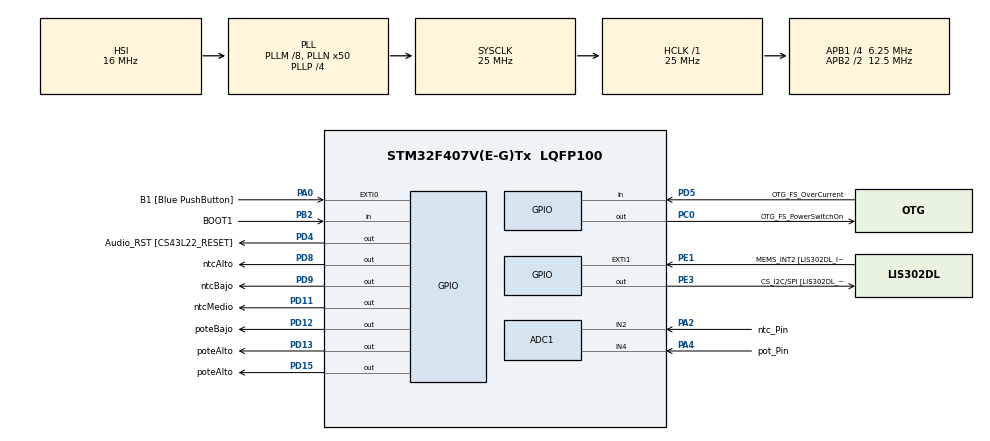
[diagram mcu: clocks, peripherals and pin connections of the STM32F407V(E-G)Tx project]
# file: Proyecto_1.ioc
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ADC1.Channel-0\#ChannelRegularConversion=ADC_CHANNEL_2
ADC1.Channel-1\#ChannelRegularConversion=ADC_CHANNEL_4
ADC1.ClockPrescaler=ADC_CLOCK_SYNC_PCLK_DIV8
ADC1.ContinuousConvMode=ENABLE
ADC1.DMAContinuousRequests=ENABLE
ADC1.EOCSelection=ADC_EOC_SEQ_CONV
ADC1.NbrOfConversion=2
ADC1.NbrOfConversionFlag=1
ADC1.Rank-0\#ChannelRegularConversion=1
ADC1.Rank-1\#ChannelRegularConversion=2
ADC1.SamplingTime-0\#ChannelRegularConversion=ADC_SAMPLETIME_112CYCLES
ADC1.SamplingTime-1\#ChannelRegularConversion=ADC_SAMPLETIME_112CYCLES
ADC1.ScanConvMode=ENABLE
ADC1.master=1
Dma.ADC1.0.Direction=DMA_PERIPH_TO_MEMORY
Dma.ADC1.0.FIFOMode=DMA_FIFOMODE_DISABLE
Dma.ADC1.0.Instance=DMA2_Stream0
Dma.ADC1.0.MemDataAlignment=DMA_MDATAALIGN_HALFWORD
Dma.ADC1.0.MemInc=DMA_MINC_ENABLE
Dma.ADC1.0.Mode=DMA_CIRCULAR
Dma.ADC1.0.PeriphDataAlignment=DMA_PDATAALIGN_HALFWORD
Dma.ADC1.0.PeriphInc=DMA_PINC_DISABLE
Dma.ADC1.0.Priority=DMA_PRIORITY_LOW
Dma.Request0=ADC1
Mcu.Family=STM32F4
Mcu.Name=STM32F407V(E-G)Tx
Mcu.Package=LQFP100
NVIC.DMA2_Stream0_IRQn=true\:0\:0\:false\:false\:true\:false\:true\:true
NVIC.PriorityGroup=NVIC_PRIORITYGROUP_0
PA0-WKUP.GPIO_Label=B1 [Blue PushButton]
PA0-WKUP.Signal=GPXTI0
PA10.GPIO_Label=OTG_FS_ID
PA10.GPIO_Mode=GPIO_MODE_AF_PP
PA10.GPIO_PuPd=GPIO_NOPULL
PA10.GPIO_Speed=GPIO_SPEED_FREQ_LOW
PA10.Signal=USB_OTG_FS_ID
PA11.GPIO_Label=OTG_FS_DM
PA11.GPIO_Mode=GPIO_MODE_AF_PP
PA11.GPIO_PuPd=GPIO_NOPULL
PA11.GPIO_Speed=GPIO_SPEED_FREQ_LOW
PA11.Signal=USB_OTG_FS_DM
PA12.GPIO_Label=OTG_FS_DP
PA12.GPIO_Mode=GPIO_MODE_AF_PP
PA12.GPIO_PuPd=GPIO_NOPULL
PA12.GPIO_Speed=GPIO_SPEED_FREQ_LOW
PA12.Signal=USB_OTG_FS_DP
PA13.GPIO_Label=SWDIO
PA13.Signal=SYS_JTMS-SWDIO
PA14.GPIO_Label=SWCLK
PA14.Signal=SYS_JTCK-SWCLK
PA2.GPIO_Label=ntc_Pin
PA2.Signal=ADCx_IN2
PA4.GPIO_Label=pot_Pin
PA4.Signal=ADCx_IN4
PA5.GPIO_Label=SPI1_SCK [LIS302DL_SCL/SPC]
PA5.GPIO_Mode=GPIO_MODE_AF_PP
PA5.GPIO_PuPd=GPIO_NOPULL
PA5.GPIO_Speed=GPIO_SPEED_FREQ_LOW
PA5.Signal=SPI1_SCK
PA6.GPIO_Label=SPI1_MISO [LIS302DL_SDO]
PA6.GPIO_Mode=GPIO_MODE_AF_PP
PA6.GPIO_PuPd=GPIO_NOPULL
PA6.GPIO_Speed=GPIO_SPEED_FREQ_LOW
PA6.Signal=SPI1_MISO
PA7.GPIO_Label=SPI1_MOSI [LIS302DL_SDA/SDI/SDO]
PA7.GPIO_Mode=GPIO_MODE_AF_PP
PA7.GPIO_PuPd=GPIO_NOPULL
PA7.GPIO_Speed=GPIO_SPEED_FREQ_LOW
PA7.Signal=SPI1_MOSI
PA9.GPIO_Label=VBUS_FS
PA9.GPIO_Mode=GPIO_MODE_INPUT
PA9.GPIO_PuPd=GPIO_NOPULL
PA9.Signal=USB_OTG_FS_VBUS
PB10.GPIO_Label=CLK_IN [MP45DT02_CLK]
PB10.GPIO_Mode=GPIO_MODE_AF_PP
PB10.GPIO_PuPd=GPIO_NOPULL
PB10.GPIO_Speed=GPIO_SPEED_FREQ_LOW
PB10.Signal=I2S2_CK
PB2.GPIO_Label=BOOT1
PB2.GPIO_Mode=GPIO_MODE_INPUT
PB2.GPIO_PuPd=GPIO_NOPULL
PB2.Signal=GPIO_Input
PB3.GPIO_Label=SWO
PB3.Signal=SYS_JTDO-SWO
PB6.GPIO_Label=Audio_SCL [CS43L22_SCL]
PB6.GPIO_Mode=GPIO_MODE_AF_OD
PB6.GPIO_PuPd=GPIO_NOPULL
PB6.GPIO_Speed=GPIO_SPEED_FREQ_LOW
PB6.Signal=I2C1_SCL
PB9.GPIO_Label=Audio_SDA [CS43L22_SDA]
PB9.GPIO_Mode=GPIO_MODE_AF_OD
PB9.GPIO_PuPd=GPIO_NOPULL
PB9.GPIO_Speed=GPIO_SPEED_FREQ_LOW
PB9.Signal=I2C1_SDA
PC0.GPIO_Label=OTG_FS_PowerSwitchOn
PC0.GPIO_PuPd=GPIO_NOPULL
PC0.GPIO_Speed=GPIO_SPEED_FREQ_LOW
PC0.PinState=GPIO_PIN_SET
PC0.Signal=GPIO_Output
PC10.GPIO_Label=I2S3_SCK [CS43L22_SCLK]
PC10.GPIO_Mode=GPIO_MODE_AF_PP
PC10.GPIO_PuPd=GPIO_NOPULL
PC10.GPIO_Speed=GPIO_SPEED_FREQ_LOW
PC10.Signal=I2S3_CK
PC12.GPIO_Label=I2S3_SD [CS43L22_SDIN]
PC12.GPIO_Mode=GPIO_MODE_AF_PP
PC12.GPIO_PuPd=GPIO_NOPULL
PC12.GPIO_Speed=GPIO_SPEED_FREQ_LOW
PC12.Signal=I2S3_SD
PC14-OSC32_IN.GPIO_Label=PC14-OSC32_IN
PC14-OSC32_IN.Signal=RCC_OSC32_IN
PC15-OSC32_OUT.GPIO_Label=PC15-OSC32_OUT
PC15-OSC32_OUT.Signal=RCC_OSC32_OUT
PC3.GPIO_Label=PDM_OUT [MP45DT02_DOUT]
PC3.GPIO_Mode=GPIO_MODE_AF_PP
PC3.GPIO_PuPd=GPIO_NOPULL
PC3.GPIO_Speed=GPIO_SPEED_FREQ_LOW
PC3.Signal=I2S2_SD
PC7.GPIO_Label=I2S3_MCK [CS43L22_MCLK]
PC7.GPIO_Mode=GPIO_MODE_AF_PP
PC7.GPIO_PuPd=GPIO_NOPULL
PC7.GPIO_Speed=GPIO_SPEED_FREQ_LOW
PC7.Signal=I2S3_MCK
PD11.GPIO_Label=ntcMedio
PD11.Signal=GPIO_Output
PD12.GPIO_Label=poteBajo
PD12.GPIO_PuPd=GPIO_NOPULL
PD12.GPIO_Speed=GPIO_SPEED_FREQ_LOW
PD12.Signal=GPIO_Output
PD13.GPIO_Label=poteAlto
PD13.GPIO_PuPd=GPIO_NOPULL
PD13.GPIO_Speed=GPIO_SPEED_FREQ_LOW
PD13.Signal=GPIO_Output
PD15.GPIO_Label=poteAlto
PD15.GPIO_PuPd=GPIO_NOPULL
PD15.GPIO_Speed=GPIO_SPEED_FREQ_LOW
PD15.Signal=GPIO_Output
PD4.GPIO_Label=Audio_RST [CS43L22_RESET]
PD4.GPIO_PuPd=GPIO_NOPULL
PD4.GPIO_Speed=GPIO_SPEED_FREQ_LOW
PD4.Signal=GPIO_Output
PD5.GPIO_Label=OTG_FS_OverCurrent
PD5.GPIO_Mode=GPIO_MODE_INPUT
PD5.GPIO_PuPd=GPIO_NOPULL
PD5.Signal=GPIO_Input
PD8.GPIO_Label=ntcAlto
PD8.Signal=GPIO_Output
PD9.GPIO_Label=ntcBajo
PD9.Signal=GPIO_Output
PE1.GPIO_Label=MEMS_INT2 [LIS302DL_INT2]
PE1.GPIO_ModeDefaultEXTI=GPIO_MODE_EVT_RISING
PE1.GPIO_PuPd=GPIO_NOPULL
PE1.Signal=GPXTI1
PE3.GPIO_Label=CS_I2C/SPI [LIS302DL_CS_I2C/SPI]
PE3.GPIO_PuPd=GPIO_NOPULL
PE3.GPIO_Speed=GPIO_SPEED_FREQ_LOW
PE3.Signal=GPIO_Output
PH0-OSC_IN.GPIO_Label=PH0-OSC_IN
PH0-OSC_IN.Signal=RCC_OSC_IN
PH1-OSC_OUT.GPIO_Label=PH1-OSC_OUT
PH1-OSC_OUT.Signal=RCC_OSC_OUT
ProjectManager.HeapSize=0x200
ProjectManager.StackSize=0x400
ProjectManager.TargetToolchain=STM32CubeIDE
RCC.48MHZClocksFreq_Value=14285714.285714285
RCC.AHBFreq_Value=25000000
RCC.APB1CLKDivider=RCC_HCLK_DIV4
RCC.APB1Freq_Value=6250000
RCC.APB1TimFreq_Value=12500000
RCC.APB2CLKDivider=RCC_HCLK_DIV2
RCC.APB2Freq_Value=12500000
RCC.APB2TimFreq_Value=25000000
RCC.CortexFreq_Value=25000000
RCC.HCLKFreq_Value=25000000
RCC.HSE_VALUE=8000000
RCC.HSI_VALUE=16000000
RCC.LSE_VALUE=32768
RCC.PLLM=8
RCC.PLLN=50
RCC.PLLP=RCC_PLLP_DIV4
RCC.PLLQ=7
RCC.SYSCLKFreq_VALUE=25000000
RCC.SYSCLKSource=RCC_SYSCLKSOURCE_PLLCLK
RCC.VCOOutputFreq_Value=100000000
SH.ADCx_IN2.0=ADC1_IN2,IN2
SH.ADCx_IN4.0=ADC1_IN4,IN4
board=STM32F407G-DISC1

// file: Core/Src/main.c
/* USER CODE BEGIN Header */
/**
  ******************************************************************************
  * @file           : main.c
  * @brief          : Main program body
  ******************************************************************************
  * @attention
  *
  * Copyright (c) 2026 STMicroelectronics.
  * All rights reserved.
  *
  * This software is licensed under terms that can be found in the LICENSE file
  * in the root directory of this software component.
  * If no LICENSE file comes with this software, it is provided AS-IS.
  *
  ******************************************************************************
  */
/* USER CODE END Header */
#include "main.h"

/*#define ntc_Pin GPIO_PIN_2
#define ntc_GPIO_Port GPIOA
#define pot_Pin GPIO_PIN_4
#define pot_GPIO_Port GPIOA
#define ntcAlto_Pin GPIO_PIN_8
#define ntcBajo_Pin GPIO_PIN_9
#define ntcMedio_Pin GPIO_PIN_11
#define ntc_GPIO_Port GPIOD
#define potBajo_Pin GPIO_PIN_12
#define potAlto_Pin GPIO_PIN_13
#define potMedio_Pin GPIO_PIN_15
#define pot_GPIO_Port GPIOD
#define MascaraLeds ntcAlto_Pin|ntcBajo_Pin|ntcMedio_Pin|potBajo_Pin|potAlto_Pin|potMedio_Pin
#define MascaraApagarLeds (ntcAlto_Pin|ntcBajo_Pin|ntcMedio_Pin|potBajo_Pin|potAlto_Pin|potMedio_Pin) << 16*/
/* ENTRADAS (Sensores en Puerto A) */
#define ntc_Pin GPIO_PIN_2
#define pot_Pin GPIO_PIN_4
#define sensores_IN_Port GPIOA

/* SALIDAS (LEDs en Puerto D) */
#define ntcAlto_Pin GPIO_PIN_8
#define ntcBajo_Pin GPIO_PIN_9
#define ntcMedio_Pin GPIO_PIN_11
#define potBajo_Pin GPIO_PIN_12
#define potAlto_Pin GPIO_PIN_13
#define potMedio_Pin GPIO_PIN_15
#define leds_OUT_Port GPIOD

/* MÁSCARAS (Con nombres en mayúscula) */
#define MASCARA_ENCENDER_LEDS (ntcAlto_Pin|ntcBajo_Pin|ntcMedio_Pin|potBajo_Pin|potAlto_Pin|potMedio_Pin)
#define MASCARA_APAGAR_LEDS ((ntcAlto_Pin|ntcBajo_Pin|ntcMedio_Pin|potBajo_Pin|potAlto_Pin|potMedio_Pin) << 16)
/* USER CODE BEGIN PD */
// Tiempo en ms que permanecen encendidas las luces al iniciar el sistema
#define TENCENDIDO 2000
// Tiempo en ms que permanecen apagadas las luces antes iniciar las transiciones
#define TAPAGADO 2000
// Nivel umbral entre los rango bajo y medio de las lecturas del termistor NTC
#define NTC_INFERIOR 3600
// Nivel umbral entre los rango medio y alto de las lecturas del termistor NTC
#define NTC_SUPERIOR 3500
// Nivel umbral entre los rango bajo y medio de las lecturas del potenciómetro
#define POT_INFERIOR 1366
// Nivel umbral entre los rango medio y alto de las lecturas del potenciómetro
#define POT_SUPERIOR 2730
// Cantidad de canales que se muestrean
#define CANALES 2
// Cantidad de muestras a promediar por canal
#define MUESTRAS 16
// Tamaño mínimo requerido de buffer
#define BUFFER_MINIMO (MUESTRAS * CANALES)
// Cantidad de buffers mínimos que se emplean
#define CANTIDAD_BUFFER_MINIMO 2
// Tamaño del buffer a implementar
#define BUFFER_TOTAL (CANTIDAD_BUFFER_MINIMO * BUFFER_MINIMO)

/* USER CODE END PD */

ADC_HandleTypeDef hadc1;
DMA_HandleTypeDef hdma_adc1;

/* USER CODE BEGIN PV */
// Buffer para almacenar las muestras
uint16_t dma_buffer[BUFFER_TOTAL];
// Valor promedio de las muestras del termistor NTC
volatile uint16_t ntc_avg;
// Valor promedio de las muestras del potenciómetro
volatile uint16_t pot_avg;

/* USER CODE END PV */

void SystemClock_Config(void);
static void MX_GPIO_Init(void);
static void MX_DMA_Init(void);
static void MX_ADC1_Init(void);
/* USER CODE BEGIN PFP */
void inicio(void); // Prueba e inicialización del sistema
void apagarTodos(void); // Apaga todos los LED
void encenderTodos(void); // Enciende todos los LED
void promediar(uint16_t *buffer); // Calcula el promedio de las muestras
void mostrarNtc(void); // Maneja los LED indicadores para el termistor NTC
void mostrarPot(void); // Maneja los LED indicadores para el potenciómetro
void mostrar(void); // Maneja los LED indicadores de rangos

/* USER CODE END PFP */

int main(void)
{

  /* MCU Configuration--------------------------------------------------------*/

  /* Reset of all peripherals, Initializes the Flash interface and the Systick. */
  HAL_Init();

  /* Configure the system clock */
  SystemClock_Config();

  /* Initialize all configured peripherals */
  MX_GPIO_Init();
  MX_DMA_Init();
  MX_ADC1_Init();
  /* USER CODE BEGIN 2 */
  inicio(); // Probamos los LED e Inicializamos
  /* USER CODE END 2 */

  /* Infinite loop */
  while (1)
  {
	  // Gestionamos los LED acorde a los valores promedio obtenidos
	  mostrar();
  }
}

void SystemClock_Config(void)
{
  RCC_OscInitTypeDef RCC_OscInitStruct = {0};
  RCC_ClkInitTypeDef RCC_ClkInitStruct = {0};

  /** Configure the main internal regulator output voltage
  */
  __HAL_RCC_PWR_CLK_ENABLE();
  __HAL_PWR_VOLTAGESCALING_CONFIG(PWR_REGULATOR_VOLTAGE_SCALE1);

  /** Initializes the RCC Oscillators according to the specified parameters
  * in the RCC_OscInitTypeDef structure.
  */
  RCC_OscInitStruct.OscillatorType = RCC_OSCILLATORTYPE_HSI;
  RCC_OscInitStruct.HSIState = RCC_HSI_ON;
  RCC_OscInitStruct.HSICalibrationValue = RCC_HSICALIBRATION_DEFAULT;
  RCC_OscInitStruct.PLL.PLLState = RCC_PLL_ON;
  RCC_OscInitStruct.PLL.PLLSource = RCC_PLLSOURCE_HSI;
  RCC_OscInitStruct.PLL.PLLM = 8;
  RCC_OscInitStruct.PLL.PLLN = 50;
  RCC_OscInitStruct.PLL.PLLP = RCC_PLLP_DIV4;
  RCC_OscInitStruct.PLL.PLLQ = 7;
  if (HAL_RCC_OscConfig(&RCC_OscInitStruct) != HAL_OK)
  {
    Error_Handler();
  }

  /** Initializes the CPU, AHB and APB buses clocks
  */
  RCC_ClkInitStruct.ClockType = RCC_CLOCKTYPE_HCLK|RCC_CLOCKTYPE_SYSCLK
                              |RCC_CLOCKTYPE_PCLK1|RCC_CLOCKTYPE_PCLK2;
  RCC_ClkInitStruct.SYSCLKSource = RCC_SYSCLKSOURCE_PLLCLK;
  RCC_ClkInitStruct.AHBCLKDivider = RCC_SYSCLK_DIV1;
  RCC_ClkInitStruct.APB1CLKDivider = RCC_HCLK_DIV4;
  RCC_ClkInitStruct.APB2CLKDivider = RCC_HCLK_DIV2;

  if (HAL_RCC_ClockConfig(&RCC_ClkInitStruct, FLASH_LATENCY_0) != HAL_OK)
  {
    Error_Handler();
  }
}

static void MX_ADC1_Init(void)
{

  ADC_ChannelConfTypeDef sConfig = {0};

  /** Configure the global features of the ADC (Clock, Resolution, Data Alignment and number of conversion)
  */
  hadc1.Instance = ADC1;
  hadc1.Init.ClockPrescaler = ADC_CLOCK_SYNC_PCLK_DIV8;
  hadc1.Init.Resolution = ADC_RESOLUTION_12B;
  hadc1.Init.ScanConvMode = ENABLE;
  hadc1.Init.ContinuousConvMode = ENABLE;
  hadc1.Init.DiscontinuousConvMode = DISABLE;
  hadc1.Init.ExternalTrigConvEdge = ADC_EXTERNALTRIGCONVEDGE_NONE;
  hadc1.Init.ExternalTrigConv = ADC_SOFTWARE_START;
  hadc1.Init.DataAlign = ADC_DATAALIGN_RIGHT;
  hadc1.Init.NbrOfConversion = 2;
  hadc1.Init.DMAContinuousRequests = ENABLE;
  hadc1.Init.EOCSelection = ADC_EOC_SEQ_CONV;
  if (HAL_ADC_Init(&hadc1) != HAL_OK)
  {
    Error_Handler();
  }

  /** Configure for the selected ADC regular channel its corresponding rank in the sequencer and its sample time.
  */
  sConfig.Channel = ADC_CHANNEL_2;
  sConfig.Rank = 1;
  sConfig.SamplingTime = ADC_SAMPLETIME_112CYCLES;
  if (HAL_ADC_ConfigChannel(&hadc1, &sConfig) != HAL_OK)
  {
    Error_Handler();
  }

  /** Configure for the selected ADC regular channel its corresponding rank in the sequencer and its sample time.
  */
  sConfig.Channel = ADC_CHANNEL_4;
  sConfig.Rank = 2;
  if (HAL_ADC_ConfigChannel(&hadc1, &sConfig) != HAL_OK)
  {
    Error_Handler();
  }

}

static void MX_DMA_Init(void)
{

  /* DMA controller clock enable */
  __HAL_RCC_DMA2_CLK_ENABLE();

  /* DMA interrupt init */
  /* DMA2_Stream0_IRQn interrupt configuration */
  HAL_NVIC_SetPriority(DMA2_Stream0_IRQn, 0, 0);
  HAL_NVIC_EnableIRQ(DMA2_Stream0_IRQn);

}

static void MX_GPIO_Init(void)
{
  GPIO_InitTypeDef GPIO_InitStruct = {0};

  /* GPIO Ports Clock Enable */
  __HAL_RCC_GPIOE_CLK_ENABLE();
  __HAL_RCC_GPIOC_CLK_ENABLE();
  __HAL_RCC_GPIOH_CLK_ENABLE();
  __HAL_RCC_GPIOA_CLK_ENABLE();
  __HAL_RCC_GPIOB_CLK_ENABLE();
  __HAL_RCC_GPIOD_CLK_ENABLE();

  /*Configure GPIO pin Output Level */
  HAL_GPIO_WritePin(CS_I2C_SPI_GPIO_Port, CS_I2C_SPI_Pin, GPIO_PIN_RESET);

  /*Configure GPIO pin Output Level */
  HAL_GPIO_WritePin(OTG_FS_PowerSwitchOn_GPIO_Port, OTG_FS_PowerSwitchOn_Pin, GPIO_PIN_SET);

  /*Configure GPIO pin Output Level */
  HAL_GPIO_WritePin(GPIOD, ntcAlto_Pin|ntcBajo_Pin|ntcMedio_Pin|poteBajo_Pin
                          |poteAlto_Pin|poteAltoD15_Pin|Audio_RST_Pin, GPIO_PIN_RESET);

  /*Configure GPIO pin : CS_I2C_SPI_Pin */
  GPIO_InitStruct.Pin = CS_I2C_SPI_Pin;
  GPIO_InitStruct.Mode = GPIO_MODE_OUTPUT_PP;
  GPIO_InitStruct.Pull = GPIO_NOPULL;
  GPIO_InitStruct.Speed = GPIO_SPEED_FREQ_LOW;
  HAL_GPIO_Init(CS_I2C_SPI_GPIO_Port, &GPIO_InitStruct);

  /*Configure GPIO pin : OTG_FS_PowerSwitchOn_Pin */
  GPIO_InitStruct.Pin = OTG_FS_PowerSwitchOn_Pin;
  GPIO_InitStruct.Mode = GPIO_MODE_OUTPUT_PP;
  GPIO_InitStruct.Pull = GPIO_NOPULL;
  GPIO_InitStruct.Speed = GPIO_SPEED_FREQ_LOW;
  HAL_GPIO_Init(OTG_FS_PowerSwitchOn_GPIO_Port, &GPIO_InitStruct);

  /*Configure GPIO pin : PDM_OUT_Pin */
  GPIO_InitStruct.Pin = PDM_OUT_Pin;
  GPIO_InitStruct.Mode = GPIO_MODE_AF_PP;
  GPIO_InitStruct.Pull = GPIO_NOPULL;
  GPIO_InitStruct.Speed = GPIO_SPEED_FREQ_LOW;
  GPIO_InitStruct.Alternate = GPIO_AF5_SPI2;
  HAL_GPIO_Init(PDM_OUT_GPIO_Port, &GPIO_InitStruct);

  /*Configure GPIO pin : B1_Pin */
  GPIO_InitStruct.Pin = B1_Pin;
  GPIO_InitStruct.Mode = GPIO_MODE_IT_RISING;
  GPIO_InitStruct.Pull = GPIO_NOPULL;
  HAL_GPIO_Init(B1_GPIO_Port, &GPIO_InitStruct);

  /*Configure GPIO pins : SPI1_SCK_Pin SPI1_MISO_Pin SPI1_MOSI_Pin */
  GPIO_InitStruct.Pin = SPI1_SCK_Pin|SPI1_MISO_Pin|SPI1_MOSI_Pin;
  GPIO_InitStruct.Mode = GPIO_MODE_AF_PP;
  GPIO_InitStruct.Pull = GPIO_NOPULL;
  GPIO_InitStruct.Speed = GPIO_SPEED_FREQ_LOW;
  GPIO_InitStruct.Alternate = GPIO_AF5_SPI1;
  HAL_GPIO_Init(GPIOA, &GPIO_InitStruct);

  /*Configure GPIO pin : BOOT1_Pin */
  GPIO_InitStruct.Pin = BOOT1_Pin;
  GPIO_InitStruct.Mode = GPIO_MODE_INPUT;
  GPIO_InitStruct.Pull = GPIO_NOPULL;
  HAL_GPIO_Init(BOOT1_GPIO_Port, &GPIO_InitStruct);

  /*Configure GPIO pin : CLK_IN_Pin */
  GPIO_InitStruct.Pin = CLK_IN_Pin;
  GPIO_InitStruct.Mode = GPIO_MODE_AF_PP;
  GPIO_InitStruct.Pull = GPIO_NOPULL;
  GPIO_InitStruct.Speed = GPIO_SPEED_FREQ_LOW;
  GPIO_InitStruct.Alternate = GPIO_AF5_SPI2;
  HAL_GPIO_Init(CLK_IN_GPIO_Port, &GPIO_InitStruct);

  /*Configure GPIO pins : ntcAlto_Pin ntcBajo_Pin ntcMedio_Pin poteBajo_Pin
                           poteAlto_Pin poteAltoD15_Pin Audio_RST_Pin */
  GPIO_InitStruct.Pin = ntcAlto_Pin|ntcBajo_Pin|ntcMedio_Pin|poteBajo_Pin
                          |poteAlto_Pin|poteAltoD15_Pin|Audio_RST_Pin;
  GPIO_InitStruct.Mode = GPIO_MODE_OUTPUT_PP;
  GPIO_InitStruct.Pull = GPIO_NOPULL;
  GPIO_InitStruct.Speed = GPIO_SPEED_FREQ_LOW;
  HAL_GPIO_Init(GPIOD, &GPIO_InitStruct);

  /*Configure GPIO pins : I2S3_MCK_Pin I2S3_SCK_Pin I2S3_SD_Pin */
  GPIO_InitStruct.Pin = I2S3_MCK_Pin|I2S3_SCK_Pin|I2S3_SD_Pin;
  GPIO_InitStruct.Mode = GPIO_MODE_AF_PP;
  GPIO_InitStruct.Pull = GPIO_NOPULL;
  GPIO_InitStruct.Speed = GPIO_SPEED_FREQ_LOW;
  GPIO_InitStruct.Alternate = GPIO_AF6_SPI3;
  HAL_GPIO_Init(GPIOC, &GPIO_InitStruct);

  /*Configure GPIO pin : VBUS_FS_Pin */
  GPIO_InitStruct.Pin = VBUS_FS_Pin;
  GPIO_InitStruct.Mode = GPIO_MODE_INPUT;
  GPIO_InitStruct.Pull = GPIO_NOPULL;
  HAL_GPIO_Init(VBUS_FS_GPIO_Port, &GPIO_InitStruct);

  /*Configure GPIO pins : OTG_FS_ID_Pin OTG_FS_DM_Pin OTG_FS_DP_Pin */
  GPIO_InitStruct.Pin = OTG_FS_ID_Pin|OTG_FS_DM_Pin|OTG_FS_DP_Pin;
  GPIO_InitStruct.Mode = GPIO_MODE_AF_PP;
  GPIO_InitStruct.Pull = GPIO_NOPULL;
  GPIO_InitStruct.Speed = GPIO_SPEED_FREQ_LOW;
  GPIO_InitStruct.Alternate = GPIO_AF10_OTG_FS;
  HAL_GPIO_Init(GPIOA, &GPIO_InitStruct);

  /*Configure GPIO pin : OTG_FS_OverCurrent_Pin */
  GPIO_InitStruct.Pin = OTG_FS_OverCurrent_Pin;
  GPIO_InitStruct.Mode = GPIO_MODE_INPUT;
  GPIO_InitStruct.Pull = GPIO_NOPULL;
  HAL_GPIO_Init(OTG_FS_OverCurrent_GPIO_Port, &GPIO_InitStruct);

  /*Configure GPIO pins : Audio_SCL_Pin Audio_SDA_Pin */
  GPIO_InitStruct.Mode = GPIO_MODE_AF_OD;
  GPIO_InitStruct.Pull = GPIO_NOPULL;
  GPIO_InitStruct.Speed = GPIO_SPEED_FREQ_LOW;
  GPIO_InitStruct.Alternate = GPIO_AF4_I2C1;
  HAL_GPIO_Init(GPIOB, &GPIO_InitStruct);

  /*Configure GPIO pin : MEMS_INT2_Pin */
  GPIO_InitStruct.Pin = MEMS_INT2_Pin;
  GPIO_InitStruct.Mode = GPIO_MODE_EVT_RISING;
  GPIO_InitStruct.Pull = GPIO_NOPULL;
  HAL_GPIO_Init(MEMS_INT2_GPIO_Port, &GPIO_InitStruct);

}

/* USER CODE BEGIN 4 */
// Rutina de antención a la interrupción de buffer a mitad
void HAL_ADC_ConvHalfCpltCallback(ADC_HandleTypeDef *hadc) {
// Promediamos la primera mitad del buffer (el primer bloque de tamaño mínimo)
promediar(&dma_buffer[0]);
}
// Rutina de antención a la interrupción de buffer a tope
void HAL_ADC_ConvCpltCallback(ADC_HandleTypeDef *hadc) {
// Promediamos la segunda mitad del buffer (el segundo bloque de tamaño mínimo)
promediar(&dma_buffer[BUFFER_MINIMO]);
}
// Prueba e inicialización del sistema
void inicio(void){
// Encendemos todos los LED y esperamos un tiempo
encenderTodos();
HAL_Delay(TENCENDIDO);
// Apagamos todos los LED y esperamos un tiempo
apagarTodos();
HAL_Delay(TAPAGADO);
// Iniciamos las conversiones
HAL_ADC_Start_DMA(&hadc1, (uint32_t*) dma_buffer, BUFFER_TOTAL);
}
// Apaga todos los LED, usando el registro BSRR del puerto
// Apaga todos los LED, usando el registro BSRR del puerto
void apagarTodos(void){
	leds_OUT_Port->BSRR = MASCARA_APAGAR_LEDS;
}
// Enciende todos los LED, usando el registro BSRR del puerto
void encenderTodos(void){
	leds_OUT_Port->BSRR = MASCARA_ENCENDER_LEDS;
}

// Calcula los promedios
void promediar(uint16_t *buffer) {
// Inicializamos variables para acumular la suma de las muestras
uint32_t ntc_sum = 0, pot_sum = 0;
// Realizamos la suma incrementando el puntero a las muestras
for (int i = 0; i < MUESTRAS; ++i) {
 ntc_sum += buffer[0];
 pot_sum += buffer[1];
 buffer += 2;
}
// Dividimos las sumas para obtener el promedio
ntc_avg = ntc_sum / MUESTRAS;
pot_avg = pot_sum / MUESTRAS;
}
// Maneja los LED de rango para el termistor NTC
void mostrarNtc(void){
// Como el termistor es NTC, a mayor valor muestreado, menor valor de temperatura.
// Si se supera el límite inferior, el rango es bajo
if (NTC_INFERIOR < ntc_avg) {
 // Encendemos el LED verde
 HAL_GPIO_WritePin( leds_OUT_Port, ntcBajo_Pin, GPIO_PIN_SET);
 HAL_GPIO_WritePin( leds_OUT_Port, ntcMedio_Pin, GPIO_PIN_RESET);
 HAL_GPIO_WritePin( leds_OUT_Port, ntcAlto_Pin, GPIO_PIN_RESET);
}
// Si no se supera el límite superior, el rango es alto
else if (NTC_SUPERIOR > ntc_avg) {
 // Encendemos el LED rojo
 HAL_GPIO_WritePin( leds_OUT_Port, ntcBajo_Pin, GPIO_PIN_RESET);
 HAL_GPIO_WritePin( leds_OUT_Port, ntcMedio_Pin, GPIO_PIN_RESET);
 HAL_GPIO_WritePin( leds_OUT_Port, ntcAlto_Pin, GPIO_PIN_SET);
}
// En otro caso, el rango es medio
else {
 // Encendemos el LED amarillo
 HAL_GPIO_WritePin( leds_OUT_Port, ntcBajo_Pin, GPIO_PIN_RESET);
 HAL_GPIO_WritePin( leds_OUT_Port, ntcMedio_Pin, GPIO_PIN_SET);
 HAL_GPIO_WritePin( leds_OUT_Port, ntcAlto_Pin, GPIO_PIN_RESET);
}
}
// Maneja los LED de rango para el potenciómetro
void mostrarPot(void){
// Si no se supera el límite inferior, el rango es bajo
if (POT_INFERIOR > pot_avg) {
 // Encendemos el LED verde
 HAL_GPIO_WritePin( leds_OUT_Port, potBajo_Pin, GPIO_PIN_SET);
 HAL_GPIO_WritePin( leds_OUT_Port, potMedio_Pin, GPIO_PIN_RESET);
 HAL_GPIO_WritePin( leds_OUT_Port, potAlto_Pin, GPIO_PIN_RESET);
}
// Si se supera el límite superior, el rango es alto
else if (POT_SUPERIOR < pot_avg) {
 // Encendemos el LED rojo
 HAL_GPIO_WritePin( leds_OUT_Port, potBajo_Pin, GPIO_PIN_RESET);
 HAL_GPIO_WritePin( leds_OUT_Port, potMedio_Pin, GPIO_PIN_RESET);
 HAL_GPIO_WritePin( leds_OUT_Port, potAlto_Pin, GPIO_PIN_SET);
}
// En otro caso, el rango es medio
else {
 // Encendemos el led amarillo
 HAL_GPIO_WritePin( leds_OUT_Port, potBajo_Pin, GPIO_PIN_RESET);
 HAL_GPIO_WritePin( leds_OUT_Port, potMedio_Pin, GPIO_PIN_SET);
 HAL_GPIO_WritePin( leds_OUT_Port, potAlto_Pin, GPIO_PIN_RESET);
}
}
// Gestiona los LED indicadores de rangpo
void mostrar(void){
// Manejamos los LED indicadores de rango para cada variable
mostrarNtc(); // termistor NTC
mostrarPot(); // Potenciómetro
}
/* USER CODE END 4 */

void Error_Handler(void)
{
  __disable_irq();
  while (1)
  {
  }
}
